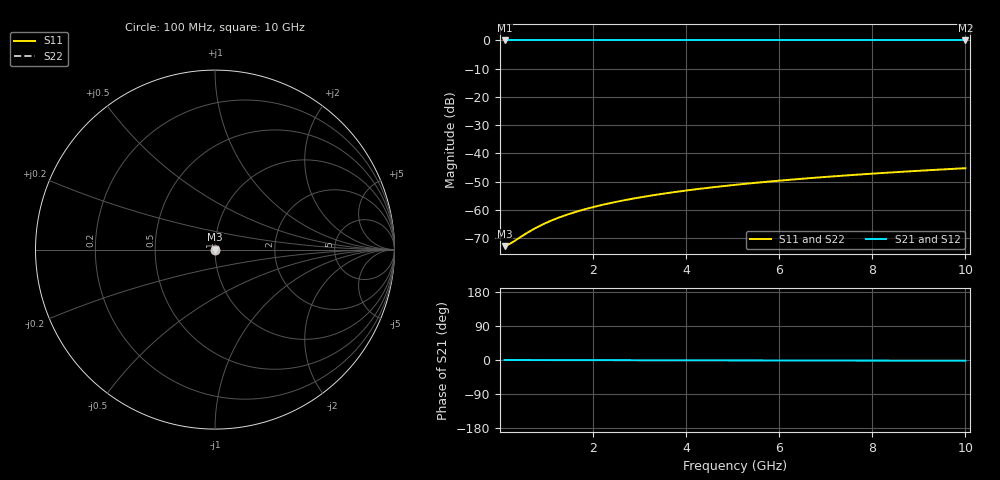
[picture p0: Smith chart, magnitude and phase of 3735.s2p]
# Hz S RI R 50.00
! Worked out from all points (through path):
!   100 points, 100 MHz to 10 GHz, reference 50 ohm
!   highest |S21| = 0.00 dB at 100 MHz (marker M1); lowest = 0.0 dB at 10 GHz (marker M2)
!   lowest |S11| = -72.9 dB at 100 MHz (marker M3), VSWR 1.00, Z = 50 + j0.00544 ohm
!   |S11| at or under -10 dB: start of sweep to end of sweep
!   |S22| runs from -72.9 to -45.3 dB; largest |S21 - S12| = 0
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1e8  0.000219 5.44e-05  0.9998 -0.000347  0.9998 -0.000347  0.000219 5.44e-05
2e8  0.000221 0.000109  0.9998 -0.000695  0.9998 -0.000695  0.000221 0.000109
3e8  0.000222 0.000163  0.9998 -0.00104  0.9998 -0.00104  0.000222 0.000163
6e8  0.000224 0.000326  0.9998 -0.00208  0.9998 -0.00208  0.000224 0.000326
7e8  0.000225 0.00038  0.9998 -0.00243  0.9998 -0.00243  0.000225 0.00038
8e8  0.000226 0.000435  0.9998 -0.00278  0.9998 -0.00278  0.000226 0.000435
1e9  0.000227 0.000543  0.9998 -0.00347  0.9998 -0.00347  0.000227 0.000543
1.2e9  0.000228 0.000652  0.9998 -0.00417  0.9998 -0.00417  0.000228 0.000652
1.4e9  0.00023 0.000761  0.9998 -0.00487  0.9998 -0.00487  0.00023 0.000761
1.6e9  0.000232 0.000869  0.9998 -0.00556  0.9998 -0.00556  0.000232 0.000869
1.8e9  0.000233 0.000978  0.9997 -0.00626  0.9997 -0.00626  0.000233 0.000978
2.1e9  0.000236 0.00114  0.9997 -0.0073  0.9997 -0.0073  0.000236 0.00114
2.5e9  0.00024 0.00136  0.9997 -0.00869  0.9997 -0.00869  0.00024 0.00136
2.9e9  0.000245 0.00158  0.9997 -0.0101  0.9997 -0.0101  0.000245 0.00158
3.4e9  0.000252 0.00185  0.9997 -0.0118  0.9997 -0.0118  0.000252 0.00185
4.2e9  0.000264 0.00228  0.9996 -0.0146  0.9996 -0.0146  0.000264 0.00228
5.1e9  0.000281 0.00277  0.9996 -0.0177  0.9996 -0.0177  0.000281 0.00277
5.9e9  0.000299 0.0032  0.9995 -0.0205  0.9995 -0.0205  0.000299 0.0032
6.7e9  0.000319 0.00364  0.9995 -0.0233  0.9995 -0.0233  0.000319 0.00364
7.5e9  0.000341 0.00407  0.9994 -0.0261  0.9994 -0.0261  0.000341 0.00407
8.4e9  0.000369 0.00456  0.9993 -0.0293  0.9993 -0.0293  0.000369 0.00456
1e10  0.000427 0.00543  0.9991 -0.0349  0.9991 -0.0349  0.000427 0.00543
